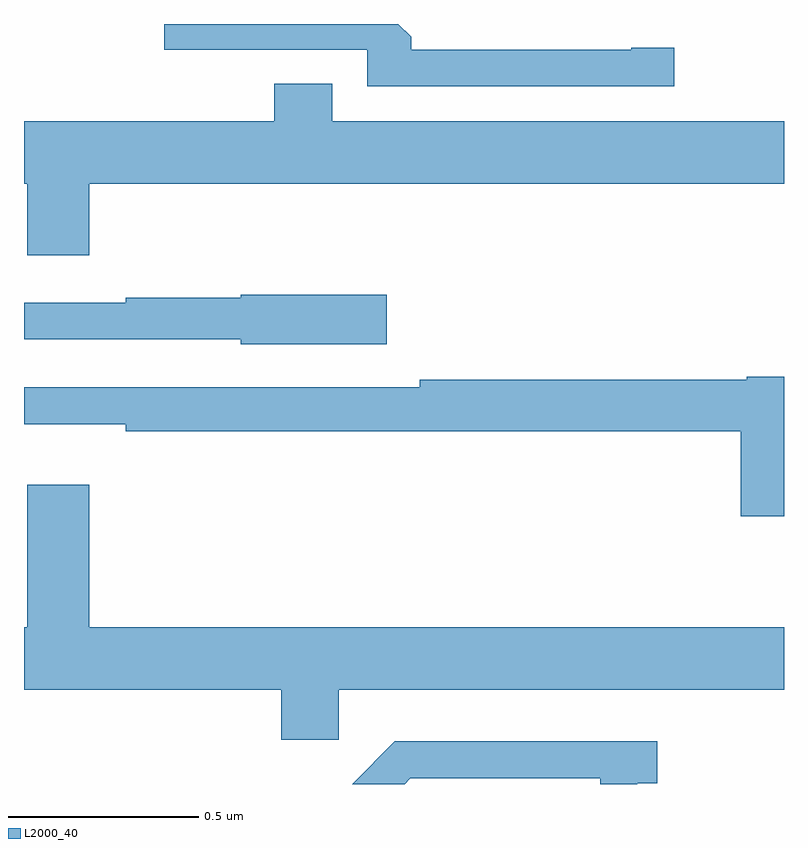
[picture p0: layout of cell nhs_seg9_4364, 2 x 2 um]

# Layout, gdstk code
import gdstk
lib = gdstk.Library(unit=1e-6, precision=1e-09)
def P(c, l, *ps):  # polygons
    for p in ps: c.add(gdstk.Polygon(p, *l))
L2000_40 = (2000, 40)

nhs_seg9_4364 = lib.new_cell('nhs_seg9_4364')
P(nhs_seg9_4364, L2000_40, [(166.711,1203.437),(166.598,1203.437),(166.598,1203.432),(166.019,1203.432),(166.019,1203.466),(165.985,1203.5),(165.369,1203.5),(165.369,1203.432),(165.903,1203.432),(165.903,1203.336),(166.711,1203.336)],
  [(165.172,1203.08),(167,1203.08),(167,1203.244),(165.811,1203.244),(165.811,1203.343),(165.659,1203.343),(165.659,1203.244),(165,1203.244),(165,1203.08),(165.008,1203.08),(165.008,1202.892),(165.172,1202.892)],
  [(165.955,1202.787),(165.57,1202.787),(165.57,1202.779),(165.268,1202.779),(165.268,1202.766),(165,1202.766),(165,1202.67),(165.57,1202.67),(165.57,1202.657),(165.955,1202.657)],
  [(167,1202.572),(166.902,1202.572),(166.902,1202.564),(166.042,1202.564),(166.042,1202.544),(165,1202.544),(165,1202.447),(165.268,1202.447),(165.268,1202.428),(166.886,1202.428),(166.886,1202.205),(167,1202.205)],
  [(165.828,1201.748),(167,1201.748),(167,1201.912),(165.172,1201.912),(165.172,1202.287),(165.008,1202.287),(165.008,1201.912),(165,1201.912),(165,1201.748),(165.677,1201.748),(165.677,1201.617),(165.828,1201.617)],
  [(166.017,1201.515),(166.517,1201.515),(166.517,1201.5),(166.614,1201.5),(166.614,1201.502),(166.666,1201.502),(166.666,1201.612),(165.976,1201.612),(165.864,1201.5),(166.002,1201.5)])

lib.write_gds('nhs_seg9_4364.gds')
